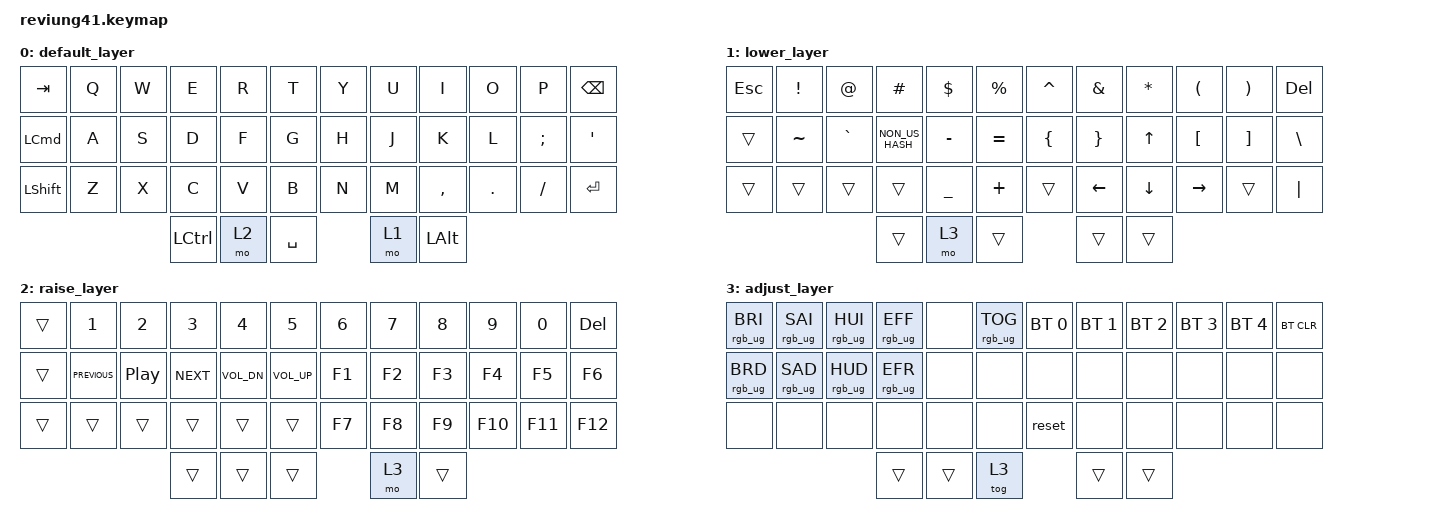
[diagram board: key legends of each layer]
/*
 * Copyright (c) 2020 The ZMK Contributors
 *
 * SPDX-License-Identifier: MIT
 */

#include <behaviors.dtsi>
#include <../boards/shields/reviung41/boards/nice_nano.overlay>
#include <dt-bindings/zmk/keys.h>
#include <dt-bindings/zmk/rgb.h>
#include <dt-bindings/zmk/bt.h>

/ {
    keymap {
        compatible = "zmk,keymap";

        default_layer {
            // -------------------------------------------------------------------------------------
            // |  TAB |  Q  |  W  |  E  |  R  |  T  |   |  Y  |  U   |  I  |  O  |  P  |   BKSP    |
            // | CTRL |  A  |  S  |  D  |  F  |  G  |   |  H  |  J   |  K  |  L  |  ;  |    '      |
            // | SHFT |  Z  |  X  |  C  |  V  |  B  |   |  N  |  M   |  ,  |  .  |  /  | SHFT(RET) |
            //                         | ALT | LWR | SPC | RSE  | ALT |

            bindings = <
          &kp TAB   &kp Q   &kp W      &kp E   &kp R   &kp T              &kp Y   &kp U         &kp I    &kp O     &kp P    &kp BSPC
 &kp LEFT_COMMAND   &kp A   &kp S      &kp D   &kp F   &kp G              &kp H   &kp J         &kp K    &kp L  &kp SEMI     &kp SQT
        &kp LSHFT   &kp Z   &kp X      &kp C   &kp V   &kp B              &kp N   &kp M     &kp COMMA  &kp DOT  &kp FSLH  &kp RETURN
                                   &kp LCTRL   &mo 2          &kp SPACE           &mo 1  &kp LEFT_ALT
            >;
        };

        lower_layer {
            // ----------------------------------------------------------------------------------
            // |    |  !  |  @  |  #  |  $  |  %  |   |  ^  |  &  |  *  |  (  |  )  |    DEL    |
            // |    |  _  |  +  |  {  |  }  | "|" |   | LFT | DWN |  UP | RGT |  `  |     ~     |
            // |    | ESC | GUI | ALT | CAPS|  "  |   | HOME| END | PGUP| PGDN| PRSC| SHFT(RET) |
            //                       |     |     | RET | ADJ |     |

            bindings = <
 &kp ESCAPE   &kp EXCL     &kp AT        &kp POUND        &kp DLLR  &kp PRCNT               &kp CARET         &kp AMPS    &kp ASTERISK          &kp LPAR           &kp RPAR   &kp DEL
     &trans  &kp TILDE  &kp GRAVE  &kp NON_US_HASH       &kp MINUS  &kp EQUAL          &kp LEFT_BRACE  &kp RIGHT_BRACE    &kp UP_ARROW  &kp LEFT_BRACKET  &kp RIGHT_BRACKET  &kp BSLH
     &trans     &trans     &trans           &trans  &kp UNDERSCORE   &kp PLUS                  &trans   &kp LEFT_ARROW  &kp DOWN_ARROW   &kp RIGHT_ARROW             &trans  &kp PIPE
                                            &trans           &mo 3             &trans                           &trans          &trans
            >;
        };

        raise_layer {
            // -----------------------------------------------------------------------------------------
            // |    |  1  |  2  |  3  |  4  |  5  |   |  6  |  7  |  8  |  9  |  0  | DEL |
            // |    |  -  |  =  |  [  |  ]  |  \  |   | F1  | F2  | F3  | F4  | F5  | F6  |
            // |    | ESC | GUI | ALT | CAPS|  "  |   | F7  | F8  | F9  | F10 | F11 | F12 |
            //                       |     | ADJ | BKSP |    |     |

            bindings = <
 &trans          &kp N1            &kp N2      &kp N3        &kp N4        &kp N5          &kp N6  &kp N7  &kp N8   &kp N9   &kp N0  &kp DEL
 &trans  &kp C_PREVIOUS  &kp C_PLAY_PAUSE  &kp C_NEXT  &kp C_VOL_DN  &kp C_VOL_UP          &kp F1  &kp F2  &kp F3   &kp F4   &kp F5   &kp F6
 &trans          &trans            &trans      &trans        &trans        &trans          &kp F7  &kp F8  &kp F9  &kp F10  &kp F11  &kp F12
                                               &trans        &trans                &trans           &mo 3  &trans
            >;
        };

        adjust_layer {
            // -----------------------------------------------------------------------------------------
            // | RGB BRI+ | RGB SAT+ | RGB HUE+ | RGB ANI+ |    | RGB TOG |   |  BT1  | BT2 | BT3 | BT4 | BT5 | BT CLR |
            // | RGB BRI- | RGB SAT- | RGB HUE- | RGB ANI- |    |         |   |       |     |     |     |     |        |
            // |          |          |          |          |    |         |   | RESET |     |     |     |     |        |
            //                                              |     |     |     |     |     |

            bindings = <
 &rgb_ug RGB_BRI  &rgb_ug RGB_SAI  &rgb_ug RGB_HUI  &rgb_ug RGB_EFF   &none  &rgb_ug RGB_TOG          &bt BT_SEL 0  &bt BT_SEL 1  &bt BT_SEL 2  &bt BT_SEL 3  &bt BT_SEL 4  &bt BT_CLR
 &rgb_ug RGB_BRD  &rgb_ug RGB_SAD  &rgb_ug RGB_HUD  &rgb_ug RGB_EFR   &none            &none                 &none         &none         &none         &none         &none       &none
           &none            &none            &none            &none   &none            &none                &reset         &none         &none         &none         &none       &none
                                                             &trans  &trans                   &tog 3                      &trans        &trans
            >;
        };
    };
};
